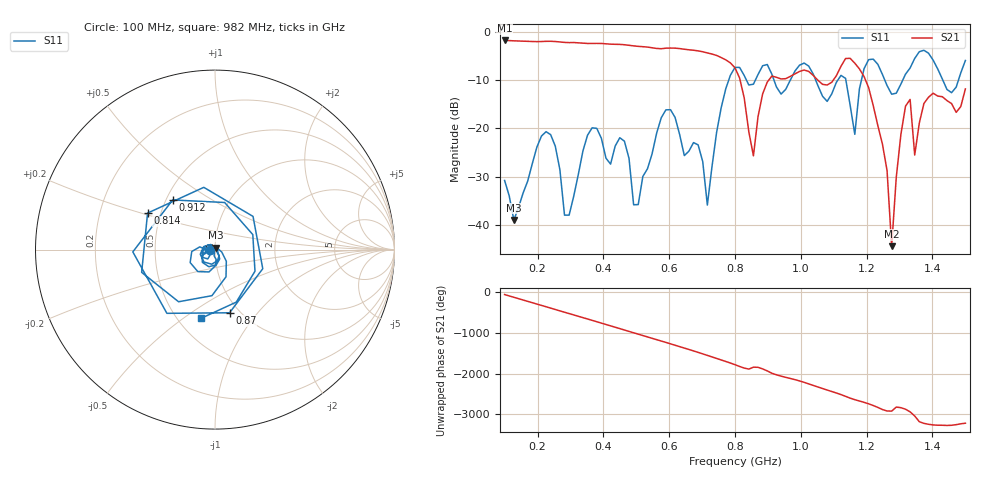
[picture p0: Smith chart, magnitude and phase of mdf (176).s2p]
! NanoVNA-App
! Date: 2025-09-25 15:39:48
! Start: 100MHz Stop: 1,5GHz Points: 101
! S-Parameter data: F S11 S21 S12 S22
# Hz S RI R 50
!  Frequency  S11_Real  S11_Imag  S21_Real  S21_Imag  S12_Real  S12_Imag  S22_Real  S22_Imag
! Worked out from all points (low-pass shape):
!   101 points, 100 MHz to 1.5 GHz, reference 50 ohm
!   highest |S21| = -1.80 dB at 100 MHz (marker M1); lowest = -44.4 dB at 1.276 GHz (marker M2)
!   |S21| within 3 dB of the highest: start of sweep to 739.3 MHz
!   lowest |S11| = -39.0 dB at 128 MHz (marker M3), VSWR 1.02, Z = 50.3 + j1.08 ohm
!   |S11| at or under -10 dB: start of sweep to 781 MHz; 918.4 MHz to 968.1 MHz (49.73 MHz wide, 5.27 % of centre); 1.045 GHz to 1.113 GHz (67.48 MHz wide, 6.26 % of centre) (the widest 3 of 7)
!   S12 and S22 are empty: the file has one direction only
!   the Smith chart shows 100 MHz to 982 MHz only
!   S11 on the Smith chart (normalised r, x): 100 MHz: 0.94, -0.01; 814 MHz: 0.42, +0.21; 870 MHz: 0.90, -0.73; 912 MHz: 0.54, +0.34; 982 MHz: 0.65, -0.59
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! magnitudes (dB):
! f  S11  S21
! 100 MHz  -30.8  -1.8
! 128 MHz  -39.0  -1.9
! 212 MHz  -21.6  -2.0
! 282 MHz  -38.0  -2.2
! 338 MHz  -24.7  -2.4
! 464 MHz  -22.6  -2.7
! 506 MHz  -35.8  -3.0
! 576 MHz  -17.8  -3.5
! 716 MHz  -35.9  -4.4
! 800 MHz  -7.4  -7.5
! 814 MHz  -7.4  -9.6
! 856 MHz  -10.9  -25.7
! 870 MHz  -8.8  -17.6
! 912 MHz  -8.8  -9.2
! 982 MHz  -8.1  -8.7
! 1.038 GHz  -8.8  -9.1
! 1.164 GHz  -21.2  -6.5
! 1.192 GHz  -7.7  -9.2
! 1.276 GHz  -12.9  -44.4
! 1.318 GHz  -8.8  -15.4
! 1.346 GHz  -5.5  -25.5
! 1.5 GHz  -6.0  -11.8
